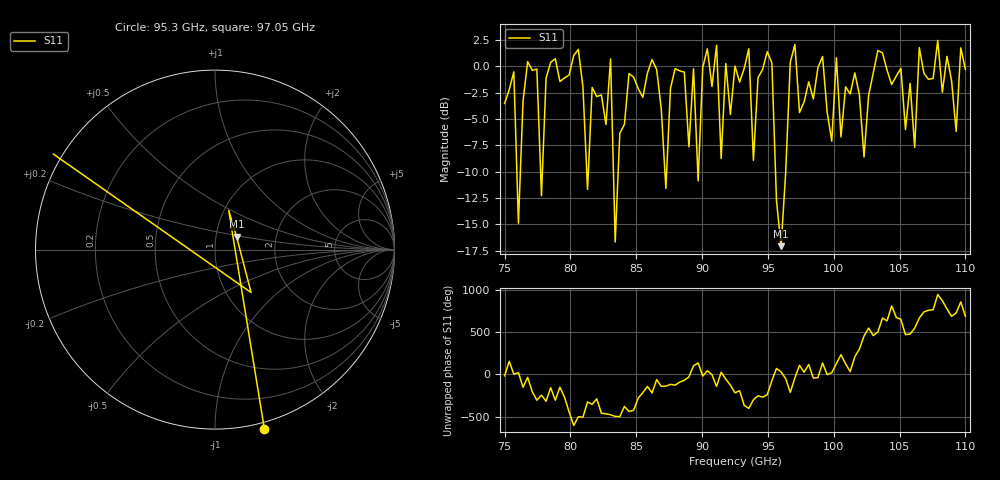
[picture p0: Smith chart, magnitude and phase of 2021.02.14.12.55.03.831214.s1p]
!Created with skrf (http://scikit-rf.org).
# GHz S RI R 50.0
!freq ReS11 ImS11
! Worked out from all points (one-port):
!   101 points, 75 GHz to 110 GHz, reference 50 ohm
!   lowest |S11| = -17.1 dB at 96 GHz (marker M1), VSWR 1.33, Z = 62.9 + j9.25 ohm
!   |S11| at or under -10 dB: 75.93086 GHz to 76.1975 GHz (266.6 MHz wide, 0.351 % of centre); 77.73347 GHz to 77.87162 GHz (138.1 MHz wide, 0.178 % of centre); 95.58 GHz to 96.35 GHz (776.2 MHz wide, 0.809 % of centre) (the widest 3 of 7)
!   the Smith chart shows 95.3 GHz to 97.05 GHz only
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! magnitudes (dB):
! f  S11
! 75 GHz  -3.5
! 75.7 GHz  -0.5
! 76.05 GHz  -14.9
! 76.75 GHz  0.4
! 77.8 GHz  -12.3
! 78.15 GHz  -1.1
! 79.55 GHz  -1.1
! 80.6 GHz  1.6
! 81.3 GHz  -11.7
! 83.05 GHz  0.7
! 83.4 GHz  -16.7
! 83.75 GHz  -6.4
! 86.2 GHz  0.6
! 87.25 GHz  -11.6
! 88.3 GHz  -0.4
! 89.35 GHz  -0.3
! 89.7 GHz  -10.9
! 90.4 GHz  1.6
! 91.45 GHz  -8.8
! 92.5 GHz  0.0
! 93.55 GHz  1.7
! 93.9 GHz  -8.9
! 95.3 GHz  0.3
! 96 GHz  -17.1
! 97.05 GHz  2.1
! 101.2 GHz  -2.6
! 105.8 GHz  -1.6
! 110 GHz  -0.3
